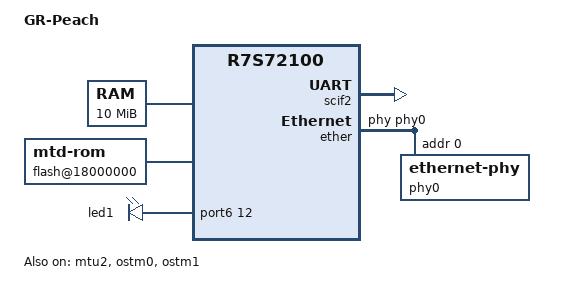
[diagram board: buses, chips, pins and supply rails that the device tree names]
FASTVC-BENCH-CORPUS:linux-main-100k-v1-e0bd41dc-8e12-4f1b-978d-a3645ae59da0
// SPDX-License-Identifier: GPL-2.0
/*
 * Device Tree Source for the GR-Peach board
 *
 * Copyright (C) 2017 Jacopo Mondi <jacopo+renesas@jmondi.org>
 * Copyright (C) 2016 Renesas Electronics
 */

/dts-v1/;
#include "r7s72100.dtsi"
#include <dt-bindings/gpio/gpio.h>
#include <dt-bindings/pinctrl/r7s72100-pinctrl.h>

/ {
	model = "GR-Peach";
	compatible = "renesas,gr-peach", "renesas,r7s72100";

	aliases {
		serial0 = &scif2;
	};

	chosen {
		bootargs = "ignore_loglevel rw root=/dev/mtdblock0";
		stdout-path = "serial0:115200n8";
	};

	memory@20000000 {
		device_type = "memory";
		reg = <0x20000000 0x00a00000>;
	};

	lbsc {
		#address-cells = <1>;
		#size-cells = <1>;
	};

	flash@18000000 {
		compatible = "mtd-rom";
		probe-type = "map_rom";
		reg = <0x18000000 0x00800000>;
		bank-width = <4>;
		device-width = <1>;

		clocks = <&mstp9_clks R7S72100_CLK_SPIBSC0>;
		power-domains = <&cpg_clocks>;

		#address-cells = <1>;
		#size-cells = <1>;

		rootfs@600000 {
			label = "rootfs";
			reg = <0x00600000 0x00200000>;
		};
	};

	leds {
		status = "okay";
		compatible = "gpio-leds";

		led1 {
			gpios = <&port6 12 GPIO_ACTIVE_HIGH>;
		};
	};
};

&pinctrl {
	scif2_pins: serial2 {
		/* P6_2 as RxD2; P6_3 as TxD2 */
		pinmux = <RZA1_PINMUX(6, 2, 7)>, <RZA1_PINMUX(6, 3, 7)>;
	};

	ether_pins: ether {
		/* Ethernet on Ports 1,3,5,10 */
		pinmux = <RZA1_PINMUX(1, 14, 4)>, /* P1_14 = ET_COL   */
			 <RZA1_PINMUX(3, 0, 2)>,  /* P3_0 = ET_TXCLK  */
			 <RZA1_PINMUX(3, 3, 2)>,  /* P3_3 = ET_MDIO   */
			 <RZA1_PINMUX(3, 4, 2)>,  /* P3_4 = ET_RXCLK  */
			 <RZA1_PINMUX(3, 5, 2)>,  /* P3_5 = ET_RXER   */
			 <RZA1_PINMUX(3, 6, 2)>,  /* P3_6 = ET_RXDV   */
			 <RZA1_PINMUX(5, 9, 2)>,  /* P5_9 = ET_MDC    */
			 <RZA1_PINMUX(10, 1, 4)>, /* P10_1 = ET_TXER  */
			 <RZA1_PINMUX(10, 2, 4)>, /* P10_2 = ET_TXEN  */
			 <RZA1_PINMUX(10, 3, 4)>, /* P10_3 = ET_CRS   */
			 <RZA1_PINMUX(10, 4, 4)>, /* P10_4 = ET_TXD0  */
			 <RZA1_PINMUX(10, 5, 4)>, /* P10_5 = ET_TXD1  */
			 <RZA1_PINMUX(10, 6, 4)>, /* P10_6 = ET_TXD2  */
			 <RZA1_PINMUX(10, 7, 4)>, /* P10_7 = ET_TXD3  */
			 <RZA1_PINMUX(10, 8, 4)>, /* P10_8 = ET_RXD0  */
			 <RZA1_PINMUX(10, 9, 4)>, /* P10_9 = ET_RXD1  */
			 <RZA1_PINMUX(10, 10, 4)>,/* P10_10 = ET_RXD2 */
			 <RZA1_PINMUX(10, 11, 4)>;/* P10_11 = ET_RXD3 */
	};
};

&extal_clk {
	clock-frequency = <13333000>;
};

&usb_x1_clk {
	clock-frequency = <48000000>;
};

&mtu2 {
	status = "okay";
};

&ostm0 {
	status = "okay";
};

&ostm1 {
	status = "okay";
};

&scif2 {
	pinctrl-names = "default";
	pinctrl-0 = <&scif2_pins>;

	status = "okay";
};

&ether {
	pinctrl-names = "default";
	pinctrl-0 = <&ether_pins>;

	status = "okay";

	renesas,no-ether-link;
	phy-handle = <&phy0>;

	phy0: ethernet-phy@0 {
		reg = <0>;

/* bench 4482.0.0 d1761678b39e */
/* bench 4482.0.1 98ef3edc6bc3 */
/* bench 4482.0.2 5dfeaf6123f2 */
/* bench 4482.0.3 15e4ed88d539 */
/* bench 4482.0.4 5f0781331c1f */
/* bench 4482.0.5 4a99d7153ce9 */
/* bench 4482.0.6 2dd7ae6cfbb3 */
/* bench 4482.0.7 1bdcb41d4aab */
/* bench 4482.0.8 fed231a56b64 */
/* bench 4482.0.9 a263af6bef2d */
/* bench 4482.0.10 9cc4072f4f8f */
/* bench 4482.0.11 cd75b5534c65 */
/* bench 4482.0.12 c468d0665367 */
/* bench 4482.0.13 5246e94cbad7 */
/* bench 4482.0.14 b0f93976be1d */
/* bench 4482.0.15 58cfa0cb1d25 */
/* bench 4482.0.16 7bcc98af9d46 */
	};
};
